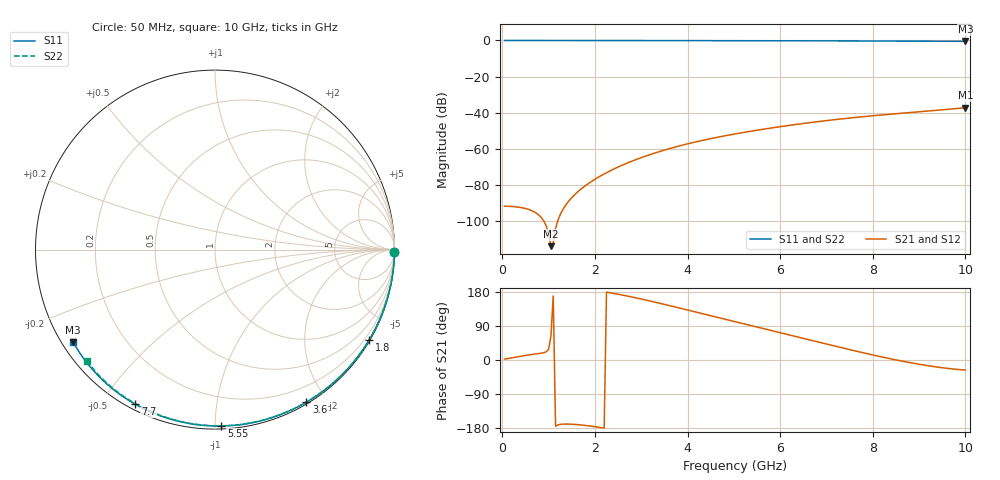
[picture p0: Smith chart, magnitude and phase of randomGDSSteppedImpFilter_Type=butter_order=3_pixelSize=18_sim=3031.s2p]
! freq	dB(S11)	phase(S11)	dB(S12)	phase(S12)
!  dB(S21)	phase(S21)	dB(S22)	phase(S22)
!S-par simulation data
#  GHz  S  DB  R 50
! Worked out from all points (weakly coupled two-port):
!   200 points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, 50 MHz to 10 GHz, reference 50 ohm
!   highest |S21| = -37.27 dB at 10 GHz (marker M1); lowest = -114.0 dB at 1.05 GHz (marker M2)
!   lowest |S11| = -0.5 dB at 10 GHz (marker M3), VSWR 34.38, Z = 1.58 - j14.8 ohm
!   |S11| at or under -10 dB: nowhere
!   |S22| runs from -0.5 to 0.0 dB; largest |S21 - S12| = 0
!   S11 on the Smith chart (normalised r, x): 50 MHz: open; 1.8 GHz: 0.03, -3.69; 3.6 GHz: 0.02, -1.76; 5.55 GHz: 0.02, -1.04; 7.7 GHz: 0.02, -0.61; 10 GHz: 0.03, -0.30
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0.05  -0.00 -0.9  -91.88 2.7  -91.88 2.7  -0.00 -0.8
0.55  -0.01 -9.4  -93.52 13.1  -93.52 13.1  -0.01 -8.8
1.05  -0.02 -17.8  -114.04 62.3  -114.04 62.3  -0.02 -16.7
1.75  -0.04 -29.5  -81.35 -172.1  -81.35 -172.1  -0.04 -27.6
1.8  -0.04 -30.3  -80.38 -172.8  -80.38 -172.8  -0.04 -28.4
1.85  -0.04 -31.1  -79.47 -173.5  -79.47 -173.5  -0.04 -29.2
2.05  -0.04 -34.4  -76.16 -176.9  -76.16 -176.9  -0.04 -32.2
2.2  -0.05 -36.9  -73.99 -179.8  -73.99 -179.8  -0.04 -34.5
2.55  -0.06 -42.5  -69.59 172.5  -69.59 172.5  -0.05 -39.9
2.95  -0.06 -48.9  -65.43 162.3  -65.43 162.3  -0.06 -45.9
3.4  -0.07 -56.0  -61.54 149.7  -61.54 149.7  -0.07 -52.5
3.6  -0.08 -59.1  -60.03 143.8  -60.03 143.8  -0.07 -55.5
3.9  -0.09 -63.7  -57.96 134.9  -57.96 134.9  -0.08 -59.8
4.3  -0.10 -69.7  -55.52 122.8  -55.52 122.8  -0.09 -65.5
5.05  -0.12 -80.8  -51.70 100.2  -51.70 100.2  -0.12 -76.0
5.55  -0.14 -87.9  -49.54 85.3  -49.54 85.3  -0.14 -82.7
6.1  -0.17 -95.7  -47.42 68.9  -47.42 68.9  -0.16 -90.1
6.7  -0.20 -103.9  -45.36 51.1  -45.36 51.1  -0.19 -97.8
7.7  -0.27 -117.2  -42.48 21.7  -42.48 21.7  -0.25 -110.5
8.35  -0.32 -125.7  -40.95 4.0  -40.95 4.0  -0.30 -118.5
9.2  -0.41 -136.7  -39.13 -15.2  -39.13 -15.2  -0.38 -129.0
10  -0.51 -147.0  -37.27 -26.7  -37.27 -26.7  -0.49 -139.0
